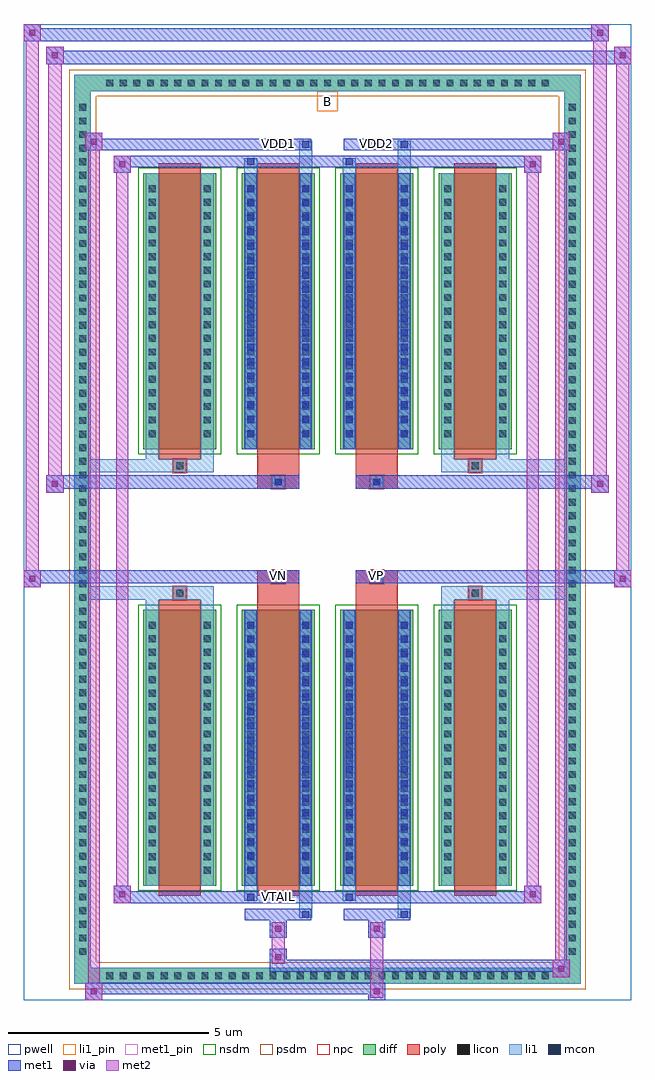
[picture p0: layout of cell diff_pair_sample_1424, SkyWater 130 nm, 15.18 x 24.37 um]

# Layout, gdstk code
import gdstk
lib = gdstk.Library(unit=1e-6, precision=5e-09)
def R(c, l, rs):  # rectangles x0, y0, x1, y1
    for r in rs: c.add(gdstk.rectangle(r[:2], r[2:], *l))
def A(c, l, x, y, w, h, nx, ny, dx, dy):  # array of equal rectangles
    R(c, l, [(x+i*dx, y+j*dy, x+i*dx+w, y+j*dy+h) for i in range(nx) for j in range(ny)])
def P(c, l, *ps):  # polygons
    for p in ps: c.add(gdstk.Polygon(p, *l))
pwell = (64, 44)
diff = (65, 20)
poly = (66, 20)
licon = (66, 44)
li1_pin = (67, 16)
li1 = (67, 20)
mcon = (67, 44)
met1_pin = (68, 16)
met1 = (68, 20)
via = (68, 44)
met2 = (69, 20)
nsdm = (93, 44)
psdm = (94, 20)
npc = (95, 20)

diff_pair_sample_1424 = lib.new_cell('diff_pair_sample_1424')
R(diff_pair_sample_1424, pwell, [(-7.59,-11.75,7.59,12.62), (-4.91,-9.94,-0.01,-0.82), (0.01,-9.94,4.91,-0.82), (-4.91,0.82,-0.01,9.94), (0.01,0.82,4.91,9.94)])
A(diff_pair_sample_1424, diff, -5.645, -11.35, 0.41, 0.41, 33, 2, 0.34, 22.29)
A(diff_pair_sample_1424, diff, -6.32, -10.745, 0.41, 0.41, 1, 63, 0, 0.34)
A(diff_pair_sample_1424, diff, 5.91, -10.745, 0.41, 0.41, 1, 63, 0, 0.34)
A(diff_pair_sample_1424, diff, -4.6, -8.895, 1.82, 6.89, 4, 2, 2.46, 10.9)
R(diff_pair_sample_1424, diff, [(-5.645,-11.35,5.645,-10.94), (-6.32,-10.745,-5.91,10.745), (5.91,-10.745,6.32,10.745), (-5.645,10.94,5.645,11.35)])
P(diff_pair_sample_1424, diff, [(6.32,11.35),(-6.32,11.35),(-6.32,-10.94),(-5.91,-10.94),(-5.91,10.94),(5.91,10.94),(5.91,-10.94),(-5.91,-10.94),(-6.32,-10.94),(-6.32,-11.35),(6.32,-11.35)])
A(diff_pair_sample_1424, poly, -4.21, -9.145, 1.04, 7.39, 4, 2, 2.46, 10.9)
R(diff_pair_sample_1424, poly, [(-3.855,-1.755,-3.525,-1.425), (-3.855,-1.755,-3.525,-1.425), (-1.75,-1.755,-0.71,-1.35), (0.71,-1.755,1.75,-1.35), (3.525,-1.755,3.855,-1.425), (3.525,-1.755,3.855,-1.425), (-1.75,-1.35,-0.71,-1.02), (-1.395,-1.35,-1.065,-1.02), (0.71,-1.35,1.75,-1.02), (1.065,-1.35,1.395,-1.02), (-1.75,1.02,-0.71,1.35), (-1.395,1.02,-1.065,1.35), (0.71,1.02,1.75,1.35), (1.065,1.02,1.395,1.35), (-1.75,1.35,-0.71,1.755), (0.71,1.35,1.75,1.755), (-3.855,1.425,-3.525,1.755), (-3.855,1.425,-3.525,1.755), (3.525,1.425,3.855,1.755), (3.525,1.425,3.855,1.755)])
A(diff_pair_sample_1424, licon, -5.525, -11.23, 0.17, 0.17, 33, 2, 0.34, 22.29)
A(diff_pair_sample_1424, licon, -6.2, -10.625, 0.17, 0.17, 1, 63, 0, 0.34)
A(diff_pair_sample_1424, licon, 6.03, -10.625, 0.17, 0.17, 1, 63, 0, 0.34)
A(diff_pair_sample_1424, licon, -4.46, -8.595, 0.17, 0.17, 1, 19, 0, 0.34)
A(diff_pair_sample_1424, licon, -3.09, -8.595, 0.17, 0.17, 1, 19, 0, 0.34)
A(diff_pair_sample_1424, licon, -2, -8.595, 0.17, 0.17, 1, 19, 0, 0.34)
A(diff_pair_sample_1424, licon, -0.63, -8.595, 0.17, 0.17, 1, 19, 0, 0.34)
A(diff_pair_sample_1424, licon, 0.46, -8.595, 0.17, 0.17, 1, 19, 0, 0.34)
A(diff_pair_sample_1424, licon, 1.83, -8.595, 0.17, 0.17, 1, 19, 0, 0.34)
A(diff_pair_sample_1424, licon, 2.92, -8.595, 0.17, 0.17, 1, 19, 0, 0.34)
A(diff_pair_sample_1424, licon, 4.29, -8.595, 0.17, 0.17, 1, 19, 0, 0.34)
A(diff_pair_sample_1424, licon, -4.46, 2.305, 0.17, 0.17, 1, 19, 0, 0.34)
A(diff_pair_sample_1424, licon, -3.09, 2.305, 0.17, 0.17, 1, 19, 0, 0.34)
A(diff_pair_sample_1424, licon, -2, 2.305, 0.17, 0.17, 1, 19, 0, 0.34)
A(diff_pair_sample_1424, licon, -0.63, 2.305, 0.17, 0.17, 1, 19, 0, 0.34)
A(diff_pair_sample_1424, licon, 0.46, 2.305, 0.17, 0.17, 1, 19, 0, 0.34)
A(diff_pair_sample_1424, licon, 1.83, 2.305, 0.17, 0.17, 1, 19, 0, 0.34)
A(diff_pair_sample_1424, licon, 2.92, 2.305, 0.17, 0.17, 1, 19, 0, 0.34)
A(diff_pair_sample_1424, licon, 4.29, 2.305, 0.17, 0.17, 1, 19, 0, 0.34)
R(diff_pair_sample_1424, licon, [(-3.775,-1.675,-3.605,-1.505), (3.605,-1.675,3.775,-1.505), (-1.315,-1.27,-1.145,-1.1), (1.145,-1.27,1.315,-1.1), (-1.315,1.1,-1.145,1.27), (1.145,1.1,1.315,1.27), (-3.775,1.505,-3.605,1.675), (3.605,1.505,3.775,1.675)])
R(diff_pair_sample_1424, li1_pin, [(-0.25,10.44,0.25,10.94)])
A(diff_pair_sample_1424, li1, -5.605, -11.31, 0.33, 0.33, 33, 2, 0.34, 22.29)
A(diff_pair_sample_1424, li1, -6.28, -10.705, 0.33, 0.33, 1, 63, 0, 0.34)
A(diff_pair_sample_1424, li1, 5.95, -10.705, 0.33, 0.33, 1, 63, 0, 0.34)
A(diff_pair_sample_1424, li1, -4.54, -8.675, 0.33, 0.33, 1, 19, 0, 0.34)
A(diff_pair_sample_1424, li1, -3.17, -8.675, 0.33, 0.33, 1, 19, 0, 0.34)
A(diff_pair_sample_1424, li1, -2.08, -8.675, 0.33, 0.33, 1, 19, 0, 0.34)
A(diff_pair_sample_1424, li1, -0.71, -8.675, 0.33, 0.33, 1, 19, 0, 0.34)
A(diff_pair_sample_1424, li1, 0.38, -8.675, 0.33, 0.33, 1, 19, 0, 0.34)
A(diff_pair_sample_1424, li1, 1.75, -8.675, 0.33, 0.33, 1, 19, 0, 0.34)
A(diff_pair_sample_1424, li1, 2.84, -8.675, 0.33, 0.33, 1, 19, 0, 0.34)
A(diff_pair_sample_1424, li1, 4.21, -8.675, 0.33, 0.33, 1, 19, 0, 0.34)
A(diff_pair_sample_1424, li1, -2, -8.595, 0.17, 0.17, 1, 18, 0, 0.36)
A(diff_pair_sample_1424, li1, -0.63, -8.595, 0.17, 0.17, 1, 18, 0, 0.36)
A(diff_pair_sample_1424, li1, 0.46, -8.595, 0.17, 0.17, 1, 18, 0, 0.36)
A(diff_pair_sample_1424, li1, 1.83, -8.595, 0.17, 0.17, 1, 18, 0, 0.36)
A(diff_pair_sample_1424, li1, -4.54, 2.225, 0.33, 0.33, 1, 19, 0, 0.34)
A(diff_pair_sample_1424, li1, -3.17, 2.225, 0.33, 0.33, 1, 19, 0, 0.34)
A(diff_pair_sample_1424, li1, -2.08, 2.225, 0.33, 0.33, 1, 19, 0, 0.34)
A(diff_pair_sample_1424, li1, -0.71, 2.225, 0.33, 0.33, 1, 19, 0, 0.34)
A(diff_pair_sample_1424, li1, 0.38, 2.225, 0.33, 0.33, 1, 19, 0, 0.34)
A(diff_pair_sample_1424, li1, 1.75, 2.225, 0.33, 0.33, 1, 19, 0, 0.34)
A(diff_pair_sample_1424, li1, 2.84, 2.225, 0.33, 0.33, 1, 19, 0, 0.34)
A(diff_pair_sample_1424, li1, 4.21, 2.225, 0.33, 0.33, 1, 19, 0, 0.34)
A(diff_pair_sample_1424, li1, -2, 2.305, 0.17, 0.17, 1, 18, 0, 0.36)
A(diff_pair_sample_1424, li1, -0.63, 2.305, 0.17, 0.17, 1, 18, 0, 0.36)
A(diff_pair_sample_1424, li1, 0.46, 2.305, 0.17, 0.17, 1, 18, 0, 0.36)
A(diff_pair_sample_1424, li1, 1.83, 2.305, 0.17, 0.17, 1, 18, 0, 0.36)
R(diff_pair_sample_1424, li1, [(-6.32,-11.35,-5.91,-10.94), (-6.32,-11.35,-5.91,-10.94), (-5.91,-11.35,5.91,-10.94), (5.91,-11.35,6.32,-10.94), (5.91,-11.35,6.32,-10.94), (-6.32,-10.94,-5.91,10.94), (5.91,-10.94,6.32,10.94), (-0.71,-9.7,-0.38,-8.895), (-0.63,-9.7,-0.46,-9.53), (1.75,-9.7,2.08,-8.895), (1.83,-9.7,2,-9.53), (-2.08,-9.27,-1.75,-8.895), (-2,-9.27,-1.83,-9.1), (0.38,-9.27,0.71,-8.895), (0.46,-9.27,0.63,-9.1), (-4.54,-8.895,-4.21,-2.005), (-3.17,-8.895,-2.84,-2.005), (-2.08,-8.895,-1.75,-2.005), (-0.71,-8.895,-0.38,-2.005), (0.38,-8.895,0.71,-2.005), (1.75,-8.895,2.08,-2.005), (2.84,-8.895,3.17,-2.005), (4.21,-8.895,4.54,-2.005), (-2,-8.595,-1.83,-2.305), (-0.63,-8.595,-0.46,-2.305), (0.46,-8.595,0.63,-2.305), (1.83,-8.595,2,-2.305), (-4.54,-2.005,-4.21,-1.425), (-3.17,-2.005,-2.84,-1.425), (2.84,-2.005,3.17,-1.425), (4.21,-2.005,4.54,-1.425), (-6.32,-1.755,-3.855,-1.425), (-4.54,-1.755,-3.855,-1.425), (-3.855,-1.755,-3.525,-1.425), (-3.525,-1.755,-2.84,-1.425), (2.84,-1.755,3.525,-1.425), (3.525,-1.755,3.855,-1.425), (3.525,-1.755,6.32,-1.425), (3.855,-1.755,4.54,-1.425), (-1.395,-1.35,-1.065,-1.02), (1.065,-1.35,1.395,-1.02), (-1.395,1.02,-1.065,1.35), (1.065,1.02,1.395,1.35), (-6.32,1.425,-3.855,1.755), (-4.54,1.425,-3.855,1.755), (-4.54,1.425,-4.21,2.005), (-3.855,1.425,-3.525,1.755), (-3.525,1.425,-2.84,1.755), (-3.17,1.425,-2.84,2.005), (2.84,1.425,3.525,1.755), (2.84,1.425,3.17,2.005), (3.525,1.425,3.855,1.755), (3.525,1.425,6.32,1.755), (3.855,1.425,4.54,1.755), (4.21,1.425,4.54,2.005), (-4.54,2.005,-4.21,8.895), (-3.17,2.005,-2.84,8.895), (-2.08,2.005,-1.75,8.895), (-0.71,2.005,-0.38,8.895), (0.38,2.005,0.71,8.895), (1.75,2.005,2.08,8.895), (2.84,2.005,3.17,8.895), (4.21,2.005,4.54,8.895), (-2,2.305,-1.83,8.595), (-0.63,2.305,-0.46,8.595), (0.46,2.305,0.63,8.595), (1.83,2.305,2,8.595), (-2.08,8.895,-1.75,9.27), (-0.71,8.895,-0.38,9.7), (0.38,8.895,0.71,9.27), (1.75,8.895,2.08,9.7), (-2,9.1,-1.83,9.27), (0.46,9.1,0.63,9.27), (-0.63,9.53,-0.46,9.7), (1.83,9.53,2,9.7), (-6.32,10.94,-5.91,11.35), (-6.32,10.94,-5.91,11.35), (-5.91,10.94,5.91,11.35), (5.91,10.94,6.32,11.35), (5.91,10.94,6.32,11.35)])
A(diff_pair_sample_1424, mcon, -2, -8.595, 0.17, 0.17, 1, 18, 0, 0.36)
A(diff_pair_sample_1424, mcon, -0.63, -8.595, 0.17, 0.17, 1, 18, 0, 0.36)
A(diff_pair_sample_1424, mcon, 0.46, -8.595, 0.17, 0.17, 1, 18, 0, 0.36)
A(diff_pair_sample_1424, mcon, 1.83, -8.595, 0.17, 0.17, 1, 18, 0, 0.36)
A(diff_pair_sample_1424, mcon, -2, 2.305, 0.17, 0.17, 1, 18, 0, 0.36)
A(diff_pair_sample_1424, mcon, -0.63, 2.305, 0.17, 0.17, 1, 18, 0, 0.36)
A(diff_pair_sample_1424, mcon, 0.46, 2.305, 0.17, 0.17, 1, 18, 0, 0.36)
A(diff_pair_sample_1424, mcon, 1.83, 2.305, 0.17, 0.17, 1, 18, 0, 0.36)
R(diff_pair_sample_1424, mcon, [(-0.63,-9.7,-0.46,-9.53), (1.83,-9.7,2,-9.53), (-2,-9.27,-1.83,-9.1), (0.46,-9.27,0.63,-9.1), (-1.315,-1.27,-1.145,-1.1), (1.145,-1.27,1.315,-1.1), (-1.315,1.1,-1.145,1.27), (1.145,1.1,1.315,1.27), (-2,9.1,-1.83,9.27), (0.46,9.1,0.63,9.27), (-0.63,9.53,-0.46,9.7), (1.83,9.53,2,9.7)])
R(diff_pair_sample_1424, met1_pin, [(-1.365,-9.31,-1.095,-9.04), (-1.365,-1.29,-1.095,-1.02), (1.095,-1.29,1.365,-1.02), (-1.365,9.49,-1.095,9.76), (1.095,9.49,1.365,9.76)])
A(diff_pair_sample_1424, met1, -2.06, -8.655, 0.29, 0.29, 1, 18, 0, 0.36)
A(diff_pair_sample_1424, met1, -0.69, -8.655, 0.29, 0.29, 1, 18, 0, 0.36)
A(diff_pair_sample_1424, met1, 0.4, -8.655, 0.29, 0.29, 1, 18, 0, 0.36)
A(diff_pair_sample_1424, met1, 1.77, -8.655, 0.29, 0.29, 1, 18, 0, 0.36)
A(diff_pair_sample_1424, met1, -2.06, 2.245, 0.29, 0.29, 1, 18, 0, 0.36)
A(diff_pair_sample_1424, met1, -0.69, 2.245, 0.29, 0.29, 1, 18, 0, 0.36)
A(diff_pair_sample_1424, met1, 0.4, 2.245, 0.29, 0.29, 1, 18, 0, 0.36)
A(diff_pair_sample_1424, met1, 1.77, 2.245, 0.29, 0.29, 1, 18, 0, 0.36)
R(diff_pair_sample_1424, met1, [(-6.05,-11.75,-5.62,-11.32), (1.015,-11.75,1.445,-11.32), (-6.05,-11.61,1.445,-11.32), (5.62,-11.18,6.05,-10.75), (-1.445,-11.04,6.05,-10.75), (-1.445,-10.9,-1.015,-10.47), (-1.445,-10.19,-1.015,-9.76), (1.015,-10.19,1.445,-9.76), (-2.06,-9.76,-0.4,-9.47), (-0.69,-9.76,-0.4,-9.47), (0.4,-9.76,2.06,-9.47), (1.77,-9.76,2.06,-9.47), (-5.34,-9.33,-4.91,-8.9), (-5.34,-9.33,-2.06,-9.04), (-2.06,-9.33,-1.77,-9.04), (-2.06,-9.33,-0.4,-9.04), (-0.4,-9.33,0.4,-9.04), (0.4,-9.33,0.69,-9.04), (0.4,-9.33,2.06,-9.04), (2.06,-9.33,5.34,-9.04), (4.91,-9.33,5.34,-8.9), (-2.06,-8.895,-1.77,-2.005), (-0.69,-8.895,-0.4,-2.005), (0.4,-8.895,0.69,-2.005), (1.77,-8.895,2.06,-2.005), (-7.59,-1.45,-7.16,-1.02), (7.16,-1.45,7.59,-1.02), (-7.59,-1.35,-0.71,-1.02), (-1.75,-1.35,-0.71,-1.02), (0.71,-1.35,1.75,-1.02), (0.71,-1.35,7.59,-1.02), (-1.375,-1.33,-1.085,-1.04), (1.085,-1.33,1.375,-1.04), (-7.02,0.92,-6.59,1.35), (6.59,0.92,7.02,1.35), (-7.02,1.02,-1.75,1.35), (-1.75,1.02,-0.71,1.35), (0.71,1.02,1.75,1.35), (1.75,1.02,7.02,1.35), (-1.375,1.04,-1.085,1.33), (1.085,1.04,1.375,1.33), (-2.06,2.005,-1.77,8.895), (-0.69,2.005,-0.4,8.895), (0.4,2.005,0.69,8.895), (1.77,2.005,2.06,8.895), (-5.34,8.9,-4.91,9.33), (4.91,8.9,5.34,9.33), (-5.34,9.04,-2.06,9.33), (-2.06,9.04,-1.77,9.33), (-2.06,9.04,-0.4,9.33), (-0.4,9.04,0.4,9.33), (0.4,9.04,0.69,9.33), (0.4,9.04,2.06,9.33), (2.06,9.04,5.34,9.33), (-6.05,9.47,-5.62,9.9), (-6.05,9.47,-2.06,9.76), (-2.06,9.47,-0.4,9.76), (-0.69,9.47,-0.4,9.76), (0.4,9.47,2.06,9.76), (1.77,9.47,2.06,9.76), (2.06,9.47,6.05,9.76), (5.62,9.47,6.05,9.9), (-7.02,11.62,-6.59,12.05), (-7.02,11.62,-4.91,11.95), (-4.91,11.62,4.91,11.95), (4.91,11.62,7.59,11.95), (7.16,11.62,7.59,12.05), (-7.59,12.19,-7.16,12.62), (-7.59,12.19,-4.91,12.52), (-4.91,12.19,4.91,12.52), (4.91,12.19,7.02,12.52), (6.59,12.19,7.02,12.62)])
R(diff_pair_sample_1424, via, [(-5.91,-11.61,-5.76,-11.46), (1.155,-11.61,1.305,-11.46), (5.76,-11.04,5.91,-10.89), (-1.305,-10.76,-1.155,-10.61), (-1.305,-10.05,-1.155,-9.9), (1.155,-10.05,1.305,-9.9), (-5.2,-9.19,-5.05,-9.04), (5.05,-9.19,5.2,-9.04), (-7.45,-1.31,-7.3,-1.16), (7.3,-1.31,7.45,-1.16), (-6.88,1.06,-6.73,1.21), (6.73,1.06,6.88,1.21), (-5.2,9.04,-5.05,9.19), (5.05,9.04,5.2,9.19), (-5.91,9.61,-5.76,9.76), (5.76,9.61,5.91,9.76), (-6.88,11.76,-6.73,11.91), (7.3,11.76,7.45,11.91), (-7.45,12.33,-7.3,12.48), (6.73,12.33,6.88,12.48)])
R(diff_pair_sample_1424, met2, [(-6.05,-11.75,-5.62,-11.32), (-5.98,-11.75,-5.69,9.9), (-5.69,-11.75,-5.62,-11.32), (-6,-11.7,-5.67,-11.37), (1.065,-11.7,1.395,-11.37), (1.065,-11.37,1.395,-10.14), (5.62,-11.18,6.05,-10.75), (5.69,-11.18,5.98,9.9), (5.98,-11.18,6.05,-10.75), (5.67,-11.13,6,-10.8), (-1.395,-10.85,-1.065,-10.52), (-1.395,-10.52,-1.065,-10.14), (-1.395,-10.14,-1.065,-9.81), (1.065,-10.14,1.395,-9.81), (-5.34,-9.33,-4.91,-8.9), (-5.27,-9.33,-4.98,9.33), (-4.98,-9.33,-4.91,-8.9), (4.91,-9.33,5.34,-8.9), (4.98,-9.33,5.27,9.33), (5.27,-9.33,5.34,-8.9), (-5.29,-9.28,-4.96,-8.95), (4.96,-9.28,5.29,-8.95), (-7.59,-1.45,-7.16,-1.02), (-7.54,-1.45,-7.21,12.62), (-7.21,-1.45,-7.16,-1.02), (7.16,-1.45,7.59,-1.02), (7.21,-1.45,7.54,12.05), (7.54,-1.45,7.59,-1.02), (-7.54,-1.4,-7.21,-1.07), (7.21,-1.4,7.54,-1.07), (-7.02,0.92,-6.59,1.35), (-6.97,0.92,-6.64,12.05), (-6.64,0.92,-6.59,1.35), (6.59,0.92,7.02,1.35), (6.64,0.92,6.97,12.62), (6.97,0.92,7.02,1.35), (-6.97,0.97,-6.64,1.3), (6.64,0.97,6.97,1.3), (-5.34,8.9,-4.91,9.33), (-4.98,8.9,-4.91,9.33), (4.91,8.9,5.34,9.33), (5.27,8.9,5.34,9.33), (-5.29,8.95,-4.96,9.28), (4.96,8.95,5.29,9.28), (-6.05,9.47,-5.62,9.9), (-5.69,9.47,-5.62,9.9), (5.62,9.47,6.05,9.9), (5.98,9.47,6.05,9.9), (-6,9.52,-5.67,9.85), (5.67,9.52,6,9.85), (-7.02,11.62,-6.59,12.05), (-6.64,11.62,-6.59,12.05), (7.16,11.62,7.59,12.05), (7.54,11.62,7.59,12.05), (-6.97,11.67,-6.64,12), (7.21,11.67,7.54,12), (-7.59,12.19,-7.16,12.62), (-7.21,12.19,-7.16,12.62), (6.59,12.19,7.02,12.62), (6.97,12.19,7.02,12.62), (-7.54,12.24,-7.21,12.57), (6.64,12.24,6.97,12.57)])
A(diff_pair_sample_1424, nsdm, -4.73, -9.025, 2.08, 7.15, 4, 2, 2.46, 10.9)
P(diff_pair_sample_1424, psdm, [(6.45,11.48),(-6.45,11.48),(-6.45,-10.81),(-5.78,-10.81),(-5.78,10.81),(5.78,10.81),(5.78,-10.81),(-5.78,-10.81),(-6.45,-10.81),(-6.45,-11.48),(6.45,-11.48)])
R(diff_pair_sample_1424, npc, [(-3.875,-1.775,-3.505,-1.405), (3.505,-1.775,3.875,-1.405), (-1.415,-1.37,-1.045,-1), (1.045,-1.37,1.415,-1), (-1.415,1,-1.045,1.37), (1.045,1,1.415,1.37), (-3.875,1.405,-3.505,1.775), (3.505,1.405,3.875,1.775)])
diff_pair_sample_1424.add(gdstk.Label('VTAIL', (-1.23,-9.175), layer=68, texttype=5))
diff_pair_sample_1424.add(gdstk.Label('VN', (-1.23,-1.155), layer=68, texttype=5))
diff_pair_sample_1424.add(gdstk.Label('VP', (1.23,-1.155), layer=68, texttype=5))
diff_pair_sample_1424.add(gdstk.Label('B', (0,10.69), layer=67, texttype=5))
diff_pair_sample_1424.add(gdstk.Label('VDD2', (1.23,9.625), layer=68, texttype=5))
diff_pair_sample_1424.add(gdstk.Label('VDD1', (-1.23,9.625), layer=68, texttype=5))

lib.write_gds('diff_pair_sample_1424.gds')
